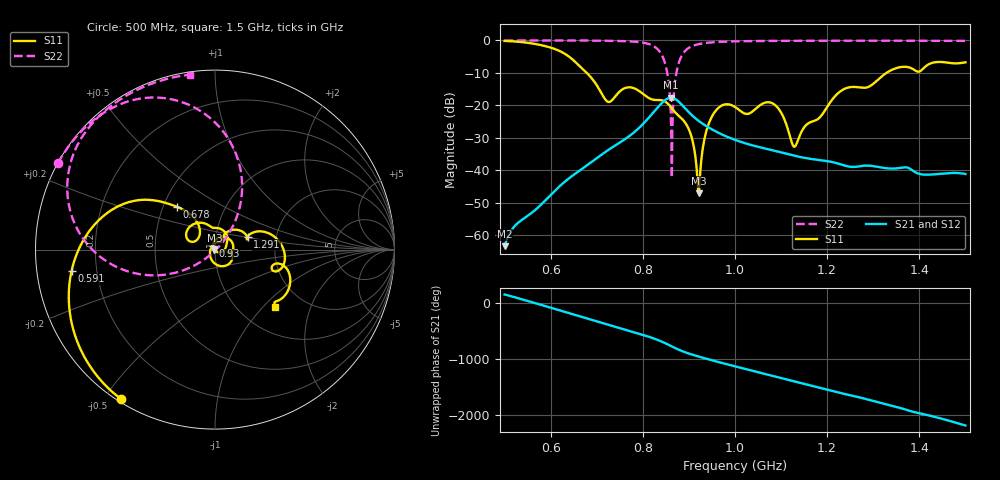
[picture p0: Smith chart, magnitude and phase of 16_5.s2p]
! TOUCHSTONE file generated by CST MICROWAVE STUDIO
! Date and time: Fri Oct  2 19:10:22 2020
! Project name: Scenario_1_Free_Space_out_of_line.cst
! Parameters = {Lambda=346.42; Step_1=17.321; dy1=87.525; dx1=866; L_HA=400; MT=2.54; Rad_Dielectric=30; Rad_Lower=7.3; Rad_Upper=30; a_HA=580; a_WG=246; b_HA=500; b_WG=121; c_HA=0; c_WG=187; d_feed=85; h_feed=15; h_lower=18; h_upper=40}
! Header version: 2018
! Port assignment regex: !\s*Touchstone port\s*([0-9]+)\s*=\s*(CST MWS port|CST DS port)\s*([0-9]+|Zmin|Zmax)\s*\(\"(.*)\"\)(\s*mode\s*([0-9]+))?.*
! Touchstone port assignment:
! Touchstone port 1 = CST MWS port 1 ("")
! Touchstone port 2 = CST MWS port 2 ("")
# GHz S DB R 50
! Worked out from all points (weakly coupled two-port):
!   1003 points, 500 MHz to 1.5 GHz, reference 50 ohm
!   highest |S21| = -17.62 dB at 861 MHz (marker M1); lowest = -63.3 dB at 500 MHz (marker M2)
!   lowest |S11| = -47.0 dB at 921 MHz (marker M3), VSWR 1.01, Z = 49.7 - j0.289 ohm
!   |S11| at or under -10 dB: 678.3 MHz to 1.329 GHz (650.2 MHz wide, 64.8 % of centre)
!   |S22| runs from -42.3 to 0.0 dB; largest |S21 - S12| = 1.6e-05
!   S11 on the Smith chart (normalised r, x): 500 MHz: 0.01, -0.55; 591 MHz: 0.11, -0.07; 678 MHz: 0.59, +0.31; 930 MHz: 0.98, +0.04; 1.291 GHz: 1.42, +0.21; 1.5 GHz: 1.44, -1.16
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0.5  -0.15 -122.3  -63.34 142.4  -63.34 142.4  -0.01 151.1
0.591  -1.85 -171.5  -48.87 -70.0  -48.87 -70.0  -0.02 144.8
0.667  -8.46 136.5  -39.64 105.4  -39.64 105.4  -0.04 138.4
0.678  -9.95 131.5  -38.53 79.5  -38.53 79.5  -0.05 137.3
0.724  -18.88 142.3  -33.82 -31.3  -33.82 -31.3  -0.11 131.8
0.77  -14.43 140.6  -29.51 -142.0  -29.51 -142.0  -0.28 123.5
0.834  -18.34 85.5  -20.36 47.9  -20.36 47.9  -2.99 90.0
0.851  -19.08 59.3  -18.11 -13.6  -18.11 -13.6  -8.62 66.0
0.861  -20.56 42.9  -17.62 -54.0  -17.62 -54.0  -24.34 43.9
0.881  -23.60 18.5  -19.28 -130.9  -19.28 -130.9  -5.74 -167.1
0.905  -29.38 -26.4  -22.82 157.9  -22.81 157.9  -1.87 168.3
0.921  -47.00 -139.4  -24.76 118.2  -24.75 118.2  -1.14 159.6
0.93  -33.28 123.1  -25.67 97.0  -25.67 97.0  -0.91 156.0
0.957  -21.85 61.3  -27.93 36.0  -27.93 36.0  -0.52 148.4
1  -20.49 -6.9  -30.60 -56.2  -30.60 -56.2  -0.28 140.8
1.084  -19.58 -60.8  -33.88 128.3  -33.88 128.3  -0.14 131.4
1.129  -32.74 150.4  -35.49 35.4  -35.49 35.4  -0.11 127.5
1.167  -24.99 49.5  -36.53 -41.2  -36.53 -41.2  -0.10 124.4
1.232  -15.35 39.4  -38.26 -177.6  -38.26 -177.7  -0.09 119.3
1.291  -14.21 21.5  -38.55 65.7  -38.55 65.7  -0.09 114.9
1.334  -9.53 13.2  -39.42 -25.2  -39.42 -25.2  -0.09 111.6
1.5  -6.74 -43.9  -41.13 -29.1  -41.13 -29.1  -0.14 98.1
